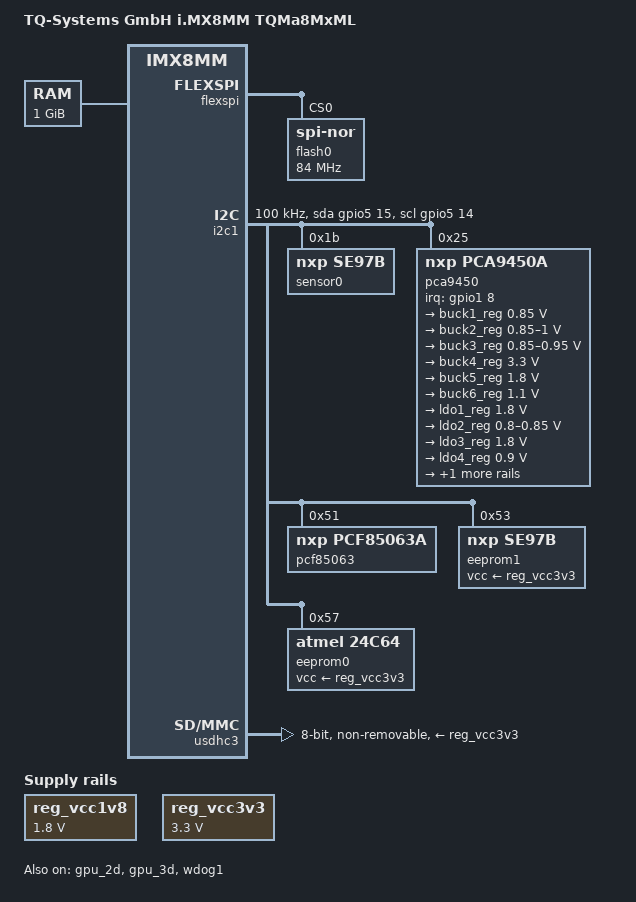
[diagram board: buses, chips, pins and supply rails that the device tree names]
// SPDX-License-Identifier: (GPL-2.0-or-later OR MIT)
/*
 * Copyright 2020-2021 TQ-Systems GmbH
 */

#include <dt-bindings/phy/phy-imx8-pcie.h>
#include "imx8mm.dtsi"

/ {
	model = "TQ-Systems GmbH i.MX8MM TQMa8MxML";
	compatible = "tq,imx8mm-tqma8mqml", "fsl,imx8mm";

	memory@40000000 {
		device_type = "memory";
		/*  our minimum RAM config will be 1024 MiB */
		reg = <0x00000000 0x40000000 0 0x40000000>;
	};

	/* e-MMC IO, needed for HS modes */
	reg_vcc1v8: regulator-vcc1v8 {
		compatible = "regulator-fixed";
		regulator-name = "TQMA8MXML_VCC1V8";
		regulator-min-microvolt = <1800000>;
		regulator-max-microvolt = <1800000>;
	};

	/* identical to buck4_reg, but should never change */
	reg_vcc3v3: regulator-vcc3v3 {
		compatible = "regulator-fixed";
		regulator-name = "TQMA8MXML_VCC3V3";
		regulator-min-microvolt = <3300000>;
		regulator-max-microvolt = <3300000>;
	};

	reserved-memory {
		#address-cells = <2>;
		#size-cells = <2>;
		ranges;

		/* global autoconfigured region for contiguous allocations */
		linux,cma {
			compatible = "shared-dma-pool";
			reusable;
			/* 640 MiB */
			size = <0 0x28000000>;
			/*  1024 - 128 MiB, our minimum RAM config will be 1024 MiB */
			alloc-ranges = <0 0x40000000 0 0x78000000>;
			linux,cma-default;
		};
	};
};

&A53_0 {
	cpu-supply = <&buck2_reg>;
};

&flexspi {
	pinctrl-names = "default";
	pinctrl-0 = <&pinctrl_flexspi>;
	status = "okay";

	flash0: flash@0 {
		compatible = "jedec,spi-nor";
		reg = <0>;
		spi-max-frequency = <84000000>;
		spi-tx-bus-width = <1>;
		spi-rx-bus-width = <4>;

		partitions {
			compatible = "fixed-partitions";
			#address-cells = <1>;
			#size-cells = <1>;
		};
	};
};

&gpu_2d {
	status = "okay";
};

&gpu_3d {
	status = "okay";
};

&i2c1 {
	clock-frequency = <100000>;
	pinctrl-names = "default", "gpio";
	pinctrl-0 = <&pinctrl_i2c1>;
	pinctrl-1 = <&pinctrl_i2c1_gpio>;
	scl-gpios = <&gpio5 14 (GPIO_ACTIVE_HIGH | GPIO_OPEN_DRAIN)>;
	sda-gpios = <&gpio5 15 (GPIO_ACTIVE_HIGH | GPIO_OPEN_DRAIN)>;
	status = "okay";

	sensor0: temperature-sensor@1b {
		compatible = "nxp,se97b", "jedec,jc-42.4-temp";
		reg = <0x1b>;
	};

	pca9450: pmic@25 {
		compatible = "nxp,pca9450a";
		reg = <0x25>;

		/* PMIC PCA9450 PMIC_nINT GPIO1_IO08 */
		pinctrl-0 = <&pinctrl_pmic>;
		pinctrl-names = "default";
		interrupt-parent = <&gpio1>;
		interrupts = <8 IRQ_TYPE_LEVEL_LOW>;

		regulators {
			/* V_0V85_SOC: 0.85 */
			buck1_reg: BUCK1 {
				regulator-name = "BUCK1";
				regulator-min-microvolt = <850000>;
				regulator-max-microvolt = <850000>;
				regulator-boot-on;
				regulator-always-on;
				regulator-ramp-delay = <3125>;
			};

			/* VDD_ARM */
			buck2_reg: BUCK2 {
				regulator-name = "BUCK2";
				regulator-min-microvolt = <850000>;
				regulator-max-microvolt = <1000000>;
				regulator-boot-on;
				regulator-always-on;
				nxp,dvs-run-voltage = <950000>;
				nxp,dvs-standby-voltage = <850000>;
				regulator-ramp-delay = <3125>;
			};

			/* V_0V85_GPU / DRAM / VPU */
			buck3_reg: BUCK3 {
				regulator-name = "BUCK3";
				regulator-min-microvolt = <850000>;
				regulator-max-microvolt = <950000>;
				regulator-boot-on;
				regulator-always-on;
				regulator-ramp-delay = <3125>;
			};

			/* VCC3V3 -> VMMC, ... must not be changed */
			buck4_reg: BUCK4 {
				regulator-name = "BUCK4";
				regulator-min-microvolt = <3300000>;
				regulator-max-microvolt = <3300000>;
				regulator-boot-on;
				regulator-always-on;
			};

			/* V_1V8 -> VQMMC, SPI-NOR, ... must not be changed */
			buck5_reg: BUCK5 {
				regulator-name = "BUCK5";
				regulator-min-microvolt = <1800000>;
				regulator-max-microvolt = <1800000>;
				regulator-boot-on;
				regulator-always-on;
			};

			/* V_1V1 -> RAM, ... must not be changed */
			buck6_reg: BUCK6 {
				regulator-name = "BUCK6";
				regulator-min-microvolt = <1100000>;
				regulator-max-microvolt = <1100000>;
				regulator-boot-on;
				regulator-always-on;
			};

			/* V_1V8_SNVS */
			ldo1_reg: LDO1 {
				regulator-name = "LDO1";
				regulator-min-microvolt = <1800000>;
				regulator-max-microvolt = <1800000>;
				regulator-boot-on;
				regulator-always-on;
			};

			/* V_0V8_SNVS */
			ldo2_reg: LDO2 {
				regulator-name = "LDO2";
				regulator-min-microvolt = <800000>;
				regulator-max-microvolt = <850000>;
				regulator-boot-on;
				regulator-always-on;
			};

			/* V_1V8_ANA */
			ldo3_reg: LDO3 {
				regulator-name = "LDO3";
				regulator-min-microvolt = <1800000>;
				regulator-max-microvolt = <1800000>;
				regulator-boot-on;
				regulator-always-on;
			};

			/* V_0V9_MIPI */
			ldo4_reg: LDO4 {
				regulator-name = "LDO4";
				regulator-min-microvolt = <900000>;
				regulator-max-microvolt = <900000>;
				regulator-boot-on;
				regulator-always-on;
			};

			/* VCC SD IO - switched using SD2 VSELECT */
			ldo5_reg: LDO5 {
				regulator-name = "LDO5";
				regulator-min-microvolt = <1800000>;
				regulator-max-microvolt = <3300000>;
			};
		};
	};


	pcf85063: rtc@51 {
		compatible = "nxp,pcf85063a";
		reg = <0x51>;
		quartz-load-femtofarads = <7000>;
	};

	eeprom1: eeprom@53 {
		compatible = "nxp,se97b", "atmel,24c02";
		read-only;
		reg = <0x53>;
		pagesize = <16>;
		vcc-supply = <&reg_vcc3v3>;
	};

	eeprom0: eeprom@57 {
		compatible = "atmel,24c64";
		reg = <0x57>;
		pagesize = <32>;
		vcc-supply = <&reg_vcc3v3>;
	};
};

&mipi_dsi {
	vddcore-supply = <&ldo4_reg>;
	vddio-supply = <&ldo3_reg>;
};

&pcie_phy {
	fsl,refclk-pad-mode = <IMX8_PCIE_REFCLK_PAD_INPUT>;
	fsl,clkreq-unsupported;
};

&usdhc3 {
	pinctrl-names = "default", "state_100mhz", "state_200mhz";
	pinctrl-0 = <&pinctrl_usdhc3>;
	pinctrl-1 = <&pinctrl_usdhc3_100mhz>;
	pinctrl-2 = <&pinctrl_usdhc3_200mhz>;
	bus-width = <8>;
	non-removable;
	no-sd;
	no-sdio;
	vmmc-supply = <&reg_vcc3v3>;
	vqmmc-supply = <&reg_vcc1v8>;
	status = "okay";
};

/*
 * Attention:
 * wdog reset is routed to PMIC, PMIC must be preconfigured to force POR
 * without LDO for SNVS. GPIO1_IO02 must not be used as GPIO.
 */
&wdog1 {
	pinctrl-names = "default";
	pinctrl-0 = <&pinctrl_wdog>;
	fsl,ext-reset-output;
	status = "okay";
};

&iomuxc {
	pinctrl_flexspi: flexspigrp {
		fsl,pins = <MX8MM_IOMUXC_NAND_ALE_QSPI_A_SCLK		0x82>,
			   <MX8MM_IOMUXC_NAND_CE0_B_QSPI_A_SS0_B	0x82>,
			   <MX8MM_IOMUXC_NAND_DATA00_QSPI_A_DATA0	0x82>,
			   <MX8MM_IOMUXC_NAND_DATA01_QSPI_A_DATA1	0x82>,
			   <MX8MM_IOMUXC_NAND_DATA02_QSPI_A_DATA2	0x82>,
			   <MX8MM_IOMUXC_NAND_DATA03_QSPI_A_DATA3	0x82>;
	};

	pinctrl_i2c1: i2c1grp {
		fsl,pins = <MX8MM_IOMUXC_I2C1_SCL_I2C1_SCL		0x40000004>,
			   <MX8MM_IOMUXC_I2C1_SDA_I2C1_SDA		0x40000004>;
	};

	pinctrl_i2c1_gpio: i2c1gpiogrp {
		fsl,pins = <MX8MM_IOMUXC_I2C1_SCL_GPIO5_IO14		0x40000004>,
			   <MX8MM_IOMUXC_I2C1_SDA_GPIO5_IO15		0x40000004>;
	};

	pinctrl_pmic: pmicgrp {
		fsl,pins = <MX8MM_IOMUXC_GPIO1_IO08_GPIO1_IO8		0x94>;
	};

	pinctrl_reg_usdhc2_vmmc: regusdhc2vmmcgrp {
		fsl,pins = <MX8MM_IOMUXC_SD2_RESET_B_GPIO2_IO19		0x84>;
	};

	pinctrl_usdhc3: usdhc3grp {
		fsl,pins = <MX8MM_IOMUXC_NAND_WE_B_USDHC3_CLK		0x1d4>,
			   <MX8MM_IOMUXC_NAND_WP_B_USDHC3_CMD		0x1d2>,
			   <MX8MM_IOMUXC_NAND_DATA04_USDHC3_DATA0	0x1d4>,
			   <MX8MM_IOMUXC_NAND_DATA05_USDHC3_DATA1	0x1d4>,
			   <MX8MM_IOMUXC_NAND_DATA06_USDHC3_DATA2	0x1d4>,
			   <MX8MM_IOMUXC_NAND_DATA07_USDHC3_DATA3	0x1d4>,
			   <MX8MM_IOMUXC_NAND_RE_B_USDHC3_DATA4		0x1d4>,
			   <MX8MM_IOMUXC_NAND_CE2_B_USDHC3_DATA5	0x1d4>,
			   <MX8MM_IOMUXC_NAND_CE3_B_USDHC3_DATA6	0x1d4>,
			   <MX8MM_IOMUXC_NAND_CLE_USDHC3_DATA7		0x1d4>,
			   <MX8MM_IOMUXC_NAND_CE1_B_USDHC3_STROBE	0x84>,
			   /* option USDHC3_RESET_B not defined, only in RM */
			   <MX8MM_IOMUXC_NAND_READY_B_GPIO3_IO16	0x84>;
	};

	pinctrl_usdhc3_100mhz: usdhc3-100mhzgrp {
		fsl,pins = <MX8MM_IOMUXC_NAND_WE_B_USDHC3_CLK		0x1d2>,
			   <MX8MM_IOMUXC_NAND_WP_B_USDHC3_CMD		0x1d2>,
			   <MX8MM_IOMUXC_NAND_DATA04_USDHC3_DATA0	0x1d4>,
			   <MX8MM_IOMUXC_NAND_DATA05_USDHC3_DATA1	0x1d4>,
			   <MX8MM_IOMUXC_NAND_DATA06_USDHC3_DATA2	0x1d4>,
			   <MX8MM_IOMUXC_NAND_DATA07_USDHC3_DATA3	0x1d4>,
			   <MX8MM_IOMUXC_NAND_RE_B_USDHC3_DATA4		0x1d4>,
			   <MX8MM_IOMUXC_NAND_CE2_B_USDHC3_DATA5	0x1d4>,
			   <MX8MM_IOMUXC_NAND_CE3_B_USDHC3_DATA6	0x1d4>,
			   <MX8MM_IOMUXC_NAND_CLE_USDHC3_DATA7		0x1d4>,
			   <MX8MM_IOMUXC_NAND_CE1_B_USDHC3_STROBE	0x84>,
			   /* option USDHC3_RESET_B not defined, only in RM */
			   <MX8MM_IOMUXC_NAND_READY_B_GPIO3_IO16	0x84>;
	};

	pinctrl_usdhc3_200mhz: usdhc3-200mhzgrp {
		fsl,pins = <MX8MM_IOMUXC_NAND_WE_B_USDHC3_CLK		0x1d6>,
			   <MX8MM_IOMUXC_NAND_WP_B_USDHC3_CMD		0x1d2>,
			   <MX8MM_IOMUXC_NAND_DATA04_USDHC3_DATA0	0x1d4>,
			   <MX8MM_IOMUXC_NAND_DATA05_USDHC3_DATA1	0x1d4>,
			   <MX8MM_IOMUXC_NAND_DATA06_USDHC3_DATA2	0x1d4>,
			   <MX8MM_IOMUXC_NAND_DATA07_USDHC3_DATA3	0x1d4>,
			   <MX8MM_IOMUXC_NAND_RE_B_USDHC3_DATA4		0x1d4>,
			   <MX8MM_IOMUXC_NAND_CE2_B_USDHC3_DATA5	0x1d4>,
			   <MX8MM_IOMUXC_NAND_CE3_B_USDHC3_DATA6	0x1d4>,
			   <MX8MM_IOMUXC_NAND_CLE_USDHC3_DATA7		0x1d4>,
			   <MX8MM_IOMUXC_NAND_CE1_B_USDHC3_STROBE	0x84>,
			   /* option USDHC3_RESET_B not defined, only in RM */
			   <MX8MM_IOMUXC_NAND_READY_B_GPIO3_IO16	0x84>;
	};

	pinctrl_wdog: wdoggrp {
		fsl,pins = <MX8MM_IOMUXC_GPIO1_IO02_WDOG1_WDOG_B	0x84>;
	};
};
